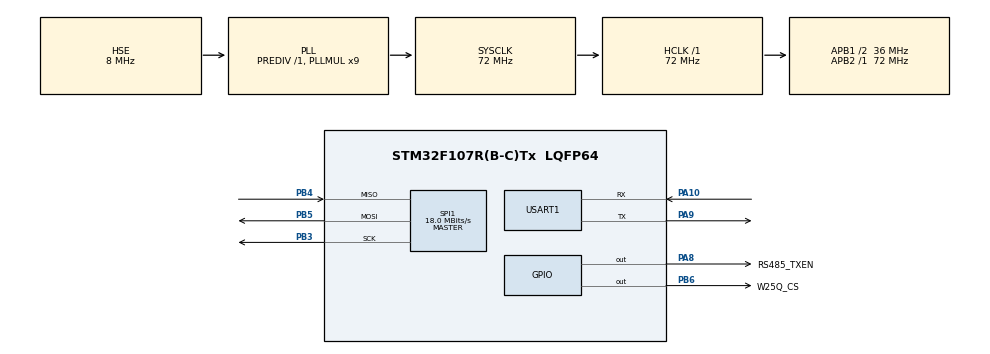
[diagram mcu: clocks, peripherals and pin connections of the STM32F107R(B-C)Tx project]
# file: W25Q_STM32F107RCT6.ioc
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Mcu.Family=STM32F1
Mcu.Name=STM32F107R(B-C)Tx
Mcu.Package=LQFP64
NVIC.PriorityGroup=NVIC_PRIORITYGROUP_4
NVIC.TIM7_IRQn=true\:15\:0\:false\:false\:true\:false\:true\:true
NVIC.TimeBase=TIM7_IRQn
NVIC.TimeBaseIP=TIM7
PA10.Mode=Asynchronous
PA10.Signal=USART1_RX
PA13.Mode=Serial_Wire
PA13.Signal=SYS_JTMS-SWDIO
PA14.Mode=Serial_Wire
PA14.Signal=SYS_JTCK-SWCLK
PA8.GPIO_Label=RS485_TXEN
PA8.GPIO_PuPd=GPIO_PULLUP
PA8.PinState=GPIO_PIN_SET
PA8.Signal=GPIO_Output
PA9.Mode=Asynchronous
PA9.Signal=USART1_TX
PB3.Mode=Full_Duplex_Master
PB3.Signal=SPI1_SCK
PB4.Mode=Full_Duplex_Master
PB4.Signal=SPI1_MISO
PB5.Mode=Full_Duplex_Master
PB5.Signal=SPI1_MOSI
PB6.GPIO_Label=W25Q_CS
PB6.Signal=GPIO_Output
PD0-OSC_IN.Mode=HSE-External-Oscillator
PD0-OSC_IN.Signal=RCC_OSC_IN
PD1-OSC_OUT.Mode=HSE-External-Oscillator
PD1-OSC_OUT.Signal=RCC_OSC_OUT
ProjectManager.HeapSize=0x200
ProjectManager.StackSize=0x400
ProjectManager.TargetToolchain=STM32CubeIDE
RCC.AHBFreq_Value=72000000
RCC.APB1CLKDivider=RCC_HCLK_DIV2
RCC.APB1Freq_Value=36000000
RCC.APB1TimFreq_Value=72000000
RCC.APB2Freq_Value=72000000
RCC.APB2TimFreq_Value=72000000
RCC.HCLKFreq_Value=72000000
RCC.PLLMUL=RCC_PLL_MUL9
RCC.PLLSourceVirtual=RCC_PLLSOURCE_HSE
RCC.SYSCLKFreq_VALUE=72000000
RCC.SYSCLKSource=RCC_SYSCLKSOURCE_PLLCLK
RCC.USBFreq_Value=48000000
SPI1.BaudRatePrescaler=SPI_BAUDRATEPRESCALER_4
SPI1.CalculateBaudRate=18.0 MBits/s
SPI1.Direction=SPI_DIRECTION_2LINES
SPI1.Mode=SPI_MODE_MASTER
SPI1.VirtualType=VM_MASTER
USART1.VirtualMode=VM_ASYNC
VP_SYS_VS_tim7.Mode=TIM7
board=custom

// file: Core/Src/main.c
/* USER CODE BEGIN Header */
/**
  ******************************************************************************
  * @file           : main.c
  * @brief          : Main program body
  ******************************************************************************
  * @attention
  *
  * Copyright (c) 2025 STMicroelectronics.
  * All rights reserved.
  *
  * This software is licensed under terms that can be found in the LICENSE file
  * in the root directory of this software component.
  * If no LICENSE file comes with this software, it is provided AS-IS.
  *
  ******************************************************************************
  */
/* USER CODE END Header */
#include "main.h"
#include "spi.h"
#include "usart.h"
#include "gpio.h"

/* USER CODE BEGIN Includes */
#include "w25q.h"
#include <stdio.h>
#include <string.h>
#include <sys/unistd.h>
/* USER CODE END Includes */

/* USER CODE BEGIN PV */
static w25q_t w25q_device;
/* USER CODE END PV */

void SystemClock_Config(void);
/* USER CODE BEGIN PFP */
static void w25q_demo_test(void);
/* USER CODE END PFP */

/* USER CODE BEGIN 0 */
/**
 * \brief           Printf qua UART1 - Sử dụng _write() cho GCC
 */
#if defined(__GNUC__)
int _write(int fd, char *ptr, int len) {
    HAL_UART_Transmit(&huart1, (uint8_t *)ptr, len, HAL_MAX_DELAY);
    return len;
}
#elif defined(__ICCARM__)
#include "LowLevelIOInterface.h"
size_t __write(int handle, const unsigned char *buffer, size_t size) {
    HAL_UART_Transmit(&huart1, (uint8_t *)buffer, size, HAL_MAX_DELAY);
    return size;
}
#elif defined(__CC_ARM)
int fputc(int ch, FILE *f) {
    HAL_UART_Transmit(&huart1, (uint8_t *)&ch, 1, HAL_MAX_DELAY);
    return ch;
}
#endif

/**
 * \brief           Initialize SPI peripheral
 * \return          `1` on success, `0` otherwise
 */
static uint8_t
prv_spi_init(void) {
    /* SPI đã được khởi tạo trong MX_SPI1_Init() */
    /* Chỉ cần đảm bảo CS pin ở mức cao */
    HAL_GPIO_WritePin(W25Q_CS_GPIO_Port, W25Q_CS_Pin, GPIO_PIN_SET);
    return 1;
}

/**
 * \brief           Select chip (pull CS low)
 * \return          `1` on success, `0` otherwise
 */
static uint8_t
prv_spi_select(void) {
    HAL_GPIO_WritePin(W25Q_CS_GPIO_Port, W25Q_CS_Pin, GPIO_PIN_RESET);
    return 1;
}

/**
 * \brief           Deselect chip (pull CS high)
 * \return          `1` on success, `0` otherwise
 */
static uint8_t
prv_spi_deselect(void) {
    HAL_GPIO_WritePin(W25Q_CS_GPIO_Port, W25Q_CS_Pin, GPIO_PIN_SET);
    return 1;
}

/**
 * \brief           Transmit data via SPI
 * \param[in]       data: Data buffer to transmit
 * \param[in]       len: Number of bytes to transmit
 * \return          `1` on success, `0` otherwise
 */
static uint8_t
prv_spi_transmit(const uint8_t* data, uint32_t len) {
    HAL_StatusTypeDef status;

    status = HAL_SPI_Transmit(&hspi1, (uint8_t*)data, len, HAL_MAX_DELAY);
    return (status == HAL_OK) ? 1 : 0;
}

/**
 * \brief           Receive data via SPI
 * \param[out]      data: Buffer to store received data
 * \param[in]       len: Number of bytes to receive
 * \return          `1` on success, `0` otherwise
 */
static uint8_t
prv_spi_receive(uint8_t* data, uint32_t len) {
    HAL_StatusTypeDef status;

    status = HAL_SPI_Receive(&hspi1, data, len, HAL_MAX_DELAY);
    return (status == HAL_OK) ? 1 : 0;
}

/**
 * \brief           Transmit and receive data via SPI (full-duplex)
 * \param[in]       tx_data: Data buffer to transmit
 * \param[out]      rx_data: Buffer to store received data
 * \param[in]       len: Number of bytes to transfer
 * \return          `1` on success, `0` otherwise
 */
static uint8_t
prv_spi_transmit_receive(const uint8_t* tx_data, uint8_t* rx_data, uint32_t len) {
    HAL_StatusTypeDef status;

    status = HAL_SPI_TransmitReceive(&hspi1, (uint8_t*)tx_data, rx_data, len, HAL_MAX_DELAY);
    return (status == HAL_OK) ? 1 : 0;
}

/**
 * \brief           Delay in milliseconds
 * \param[in]       ms: Milliseconds to delay
 */
static void
prv_delay_ms(uint32_t ms) {
    HAL_Delay(ms);
}

/* Low-level function structure for W25Q library */
static const w25q_ll_t w25q_ll_stm32 = {
    .init = prv_spi_init,
    .select = prv_spi_select,
    .deselect = prv_spi_deselect,
    .transmit = prv_spi_transmit,
    .receive = prv_spi_receive,
    .transmit_receive = prv_spi_transmit_receive,
    .delay_ms = prv_delay_ms,
};

/**
 * \brief           Print chip information
 * \param[in]       info: Chip information structure
 */
static void
print_chip_info(const w25q_info_t* info) {
    printf("\r\n========== W25Q Flash Info ==========\r\n");
    printf("Manufacturer ID : 0x%02X\r\n", info->manufacturer_id);
    printf("Device ID       : 0x%02X\r\n", info->device_id);

    printf("Chip Type       : W25Q");
    switch (info->type) {
        case W25Q10:  printf("10 (1Mbit)\r\n"); break;
        case W25Q20:  printf("20 (2Mbit)\r\n"); break;
        case W25Q40:  printf("40 (4Mbit)\r\n"); break;
        case W25Q80:  printf("80 (8Mbit)\r\n"); break;
        case W25Q16:  printf("16 (16Mbit)\r\n"); break;
        case W25Q32:  printf("32 (32Mbit)\r\n"); break;
        case W25Q64:  printf("64 (64Mbit)\r\n"); break;
        case W25Q128: printf("128 (128Mbit)\r\n"); break;
        case W25Q256: printf("256 (256Mbit)\r\n"); break;
        default:      printf("Unknown\r\n"); break;
    }

    printf("Capacity        : %lu bytes (%lu KB)\r\n",
           info->capacity_bytes, info->capacity_bytes / 1024);
    printf("Page Size       : %lu bytes\r\n", info->page_size);
    printf("Sector Size     : %lu bytes\r\n", info->sector_size);
    printf("Block Size      : %lu bytes\r\n", info->block_size);
    printf("Total Pages     : %lu\r\n", info->page_count);
    printf("Total Sectors   : %lu\r\n", info->sector_count);
    printf("Total Blocks    : %lu\r\n", info->block_count);
    printf("=====================================\r\n\r\n");

    /* Đọc JEDEC ID để kiểm tra kỹ hơn */
    uint8_t jedec_cmd = 0x9F;
    uint8_t jedec_id[3];

    printf("========== JEDEC ID Check ==========\r\n");
    w25q_device.ll.select();
    w25q_device.ll.transmit(&jedec_cmd, 1);
    w25q_device.ll.receive(jedec_id, 3);
    w25q_device.ll.deselect();

    printf("JEDEC ID: 0x%02X 0x%02X 0x%02X\r\n",
           jedec_id[0], jedec_id[1], jedec_id[2]);
    printf("Expected for W25Q16: 0xEF 0x40 0x15\r\n");
    printf("Expected for W25Q80: 0xEF 0x40 0x14\r\n");
    printf("====================================\r\n\r\n");
}

/**
 * \brief           Test basic read/write operations
 */
static void
w25q_demo_test(void) {
    w25q_result_t result;
    w25q_info_t info;
    uint8_t write_buffer[256], read_buffer[256];
    uint32_t test_address, i;
    uint8_t test_passed;

    printf("\r\n");
    printf("*****************************************\r\n");
    printf("*   W25Q Flash Memory Test Program     *\r\n");
    printf("*   STM32F107VCT6 Example               *\r\n");
    printf("*****************************************\r\n\r\n");

    /* Khởi tạo W25Q */
    printf("Initializing W25Q flash...\r\n");
    result = w25q_init(&w25q_device, &w25q_ll_stm32);

    if (result != W25Q_OK) {
        printf("ERROR: W25Q initialization failed!\r\n");
        printf("Please check:\r\n");
        printf("  - SPI connections (MISO, MOSI, CLK, CS)\r\n");
        printf("  - Power supply (3.3V)\r\n");
        printf("  - SPI configuration\r\n");
        return;
    }

    printf("SUCCESS: W25Q initialized!\r\n\r\n");

    /* Lấy thông tin chip */
    w25q_get_info(&w25q_device, &info);
    print_chip_info(&info);

    /* Test 1: Basic Read/Write */
    printf("========== Test 1: Basic Read/Write ==========\r\n");
    test_address = 0x001000; /* Address at 4KB offset */

    /* Chuẩn bị dữ liệu test */
    printf("Preparing test data (256 bytes)...\r\n");
    for (i = 0; i < 256; ++i) {
        write_buffer[i] = (uint8_t)(i & 0xFF);
    }

    /* Xóa sector */
    printf("Erasing sector at 0x%06lX...\r\n", test_address);
    result = w25q_erase_sector(&w25q_device, test_address);
    if (result != W25Q_OK) {
        printf("ERROR: Sector erase failed!\r\n");
        return;
    }
    printf("Sector erased successfully!\r\n");

    /* Ghi dữ liệu */
    printf("Writing 256 bytes...\r\n");
    result = w25q_write_page(&w25q_device, test_address, write_buffer, 256);
    if (result != W25Q_OK) {
        printf("ERROR: Write failed!\r\n");
        return;
    }
    printf("Write completed!\r\n");

    /* Đọc lại */
    printf("Reading 256 bytes...\r\n");
    result = w25q_read(&w25q_device, test_address, read_buffer, 256);
    if (result != W25Q_OK) {
        printf("ERROR: Read failed!\r\n");
        return;
    }
    printf("Read completed!\r\n");

    /* Verify */
    printf("Verifying data...\r\n");
    test_passed = 1;
    for (i = 0; i < 256; ++i) {
        if (write_buffer[i] != read_buffer[i]) {
            printf("ERROR at byte %lu: wrote 0x%02X, read 0x%02X\r\n",
                   i, write_buffer[i], read_buffer[i]);
            test_passed = 0;
            break;
        }
    }

    if (test_passed) {
        printf("SUCCESS: All data verified!\r\n");

        /* In 16 bytes đầu */
        printf("\r\nFirst 16 bytes (hex):\r\n");
        printf("Write: ");
        for (i = 0; i < 16; ++i) {
            printf("%02X ", write_buffer[i]);
        }
        printf("\r\nRead : ");
        for (i = 0; i < 16; ++i) {
            printf("%02X ", read_buffer[i]);
        }
        printf("\r\n");
    }
    printf("==============================================\r\n\r\n");

    /* Test 2: Large Write (1KB) */
    printf("========== Test 2: Large Write (1KB) ==========\r\n");
    test_address = 0x002000;

    printf("Writing 1KB data (4 pages)...\r\n");

    /* Xóa sector */
    w25q_erase_sector(&w25q_device, test_address);

    /* Ghi 4 pages */
    for (i = 0; i < 4; ++i) {
        uint32_t offset;

        offset = i * 256;
        memset(write_buffer, (uint8_t)(i + 0x55), 256);

        result = w25q_write_page(&w25q_device, test_address + offset,
                                 write_buffer, 256);
        if (result != W25Q_OK) {
            printf("ERROR: Write page %lu failed!\r\n", i);
            return;
        }
        printf("  Page %lu written\r\n", i);
    }

    /* Đọc và verify tất cả 4 pages */
    printf("Verifying 1KB data...\r\n");
    test_passed = 1;
    for (i = 0; i < 4; ++i) {
        uint32_t offset, j;

        offset = i * 256;
        w25q_read(&w25q_device, test_address + offset, read_buffer, 256);

        for (j = 0; j < 256; ++j) {
            if (read_buffer[j] != (uint8_t)(i + 0x55)) {
                printf("ERROR at page %lu, byte %lu\r\n", i, j);
                test_passed = 0;
                break;
            }
        }

        if (!test_passed) {
            break;
        }
    }

    if (test_passed) {
        printf("SUCCESS: 1KB data verified!\r\n");
    }
    printf("===============================================\r\n\r\n");

    /* Test 3: Erase Test */
    printf("========== Test 3: Erase Verification ==========\r\n");
    test_address = 0x003000;

    printf("Erasing sector at 0x%06lX...\r\n", test_address);
    w25q_erase_sector(&w25q_device, test_address);

    printf("Verifying erased data (should be 0xFF)...\r\n");
    w25q_read(&w25q_device, test_address, read_buffer, 256);

    test_passed = 1;
    for (i = 0; i < 256; ++i) {
        if (read_buffer[i] != 0xFF) {
            printf("ERROR: Byte %lu is 0x%02X (not 0xFF)\r\n", i, read_buffer[i]);
            test_passed = 0;
            break;
        }
    }

    if (test_passed) {
        printf("SUCCESS: Sector properly erased!\r\n");
    }
    printf("=================================================\r\n\r\n");

    /* Summary */
    printf("\r\n");
    printf("*****************************************\r\n");
    printf("*   ALL TESTS COMPLETED SUCCESSFULLY!   *\r\n");
    printf("*   W25Q Flash is working correctly     *\r\n");
    printf("*****************************************\r\n\r\n");

    /* Power down */
    printf("Putting flash into power-down mode...\r\n");
    w25q_power_down(&w25q_device);
    printf("Done! Flash is now in low-power mode.\r\n\r\n");
}
/* USER CODE END 0 */

int main(void)
{

  /* MCU Configuration--------------------------------------------------------*/

  /* Reset of all peripherals, Initializes the Flash interface and the Systick. */
  HAL_Init();

  /* Configure the system clock */
  SystemClock_Config();

  /* Initialize all configured peripherals */
  MX_GPIO_Init();
  MX_SPI1_Init();
  MX_USART1_UART_Init();
  /* USER CODE BEGIN 2 */
  HAL_Delay(100);
  w25q_demo_test();
  /* USER CODE END 2 */

  /* Infinite loop */
  while (1)
  {

  }
}

void SystemClock_Config(void)
{
  RCC_OscInitTypeDef RCC_OscInitStruct = {0};
  RCC_ClkInitTypeDef RCC_ClkInitStruct = {0};

  /** Initializes the RCC Oscillators according to the specified parameters
  * in the RCC_OscInitTypeDef structure.
  */
  RCC_OscInitStruct.OscillatorType = RCC_OSCILLATORTYPE_HSE;
  RCC_OscInitStruct.HSEState = RCC_HSE_ON;
  RCC_OscInitStruct.HSEPredivValue = RCC_HSE_PREDIV_DIV1;
  RCC_OscInitStruct.HSIState = RCC_HSI_ON;
  RCC_OscInitStruct.Prediv1Source = RCC_PREDIV1_SOURCE_HSE;
  RCC_OscInitStruct.PLL.PLLState = RCC_PLL_ON;
  RCC_OscInitStruct.PLL.PLLSource = RCC_PLLSOURCE_HSE;
  RCC_OscInitStruct.PLL.PLLMUL = RCC_PLL_MUL9;
  RCC_OscInitStruct.PLL2.PLL2State = RCC_PLL_NONE;
  if (HAL_RCC_OscConfig(&RCC_OscInitStruct) != HAL_OK)
  {
    Error_Handler();
  }

  /** Initializes the CPU, AHB and APB buses clocks
  */
  RCC_ClkInitStruct.ClockType = RCC_CLOCKTYPE_HCLK|RCC_CLOCKTYPE_SYSCLK
                              |RCC_CLOCKTYPE_PCLK1|RCC_CLOCKTYPE_PCLK2;
  RCC_ClkInitStruct.SYSCLKSource = RCC_SYSCLKSOURCE_PLLCLK;
  RCC_ClkInitStruct.AHBCLKDivider = RCC_SYSCLK_DIV1;
  RCC_ClkInitStruct.APB1CLKDivider = RCC_HCLK_DIV2;
  RCC_ClkInitStruct.APB2CLKDivider = RCC_HCLK_DIV1;

  if (HAL_RCC_ClockConfig(&RCC_ClkInitStruct, FLASH_LATENCY_2) != HAL_OK)
  {
    Error_Handler();
  }

  /** Configure the Systick interrupt time
  */
  __HAL_RCC_PLLI2S_ENABLE();
}

void HAL_TIM_PeriodElapsedCallback(TIM_HandleTypeDef *htim)
{
  if (htim->Instance == TIM7)
  {
    HAL_IncTick();
  }
}

void Error_Handler(void)
{
  __disable_irq();
  while (1)
  {
  }
}
